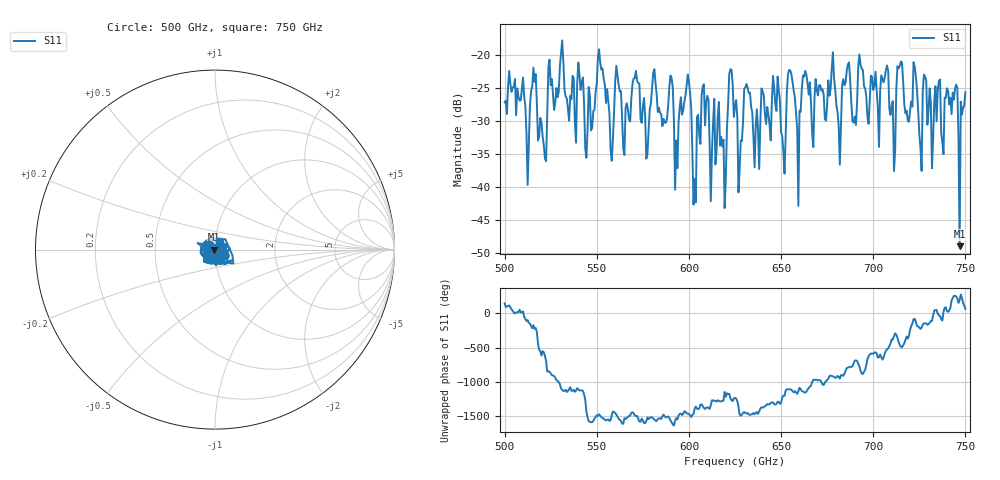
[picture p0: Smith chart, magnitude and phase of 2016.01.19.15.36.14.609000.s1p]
!Created with skrf (http://scikit-rf.org).
# GHz S RI R 50.0
!freq ReS11 ImS11
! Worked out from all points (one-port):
!   401 points, 500 GHz to 750 GHz, reference 50 ohm
!   lowest |S11| = -49.0 dB at 746.9 GHz (marker M1), VSWR 1.01, Z = 49.7 - j0.0666 ohm
!   |S11| at or under -10 dB: start of sweep to end of sweep
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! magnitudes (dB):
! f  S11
! 500 GHz  -27.2
! 512.5 GHz  -39.7
! 515.6 GHz  -22.0
! 521.2 GHz  -33.7
! 531.2 GHz  -17.9
! 544.4 GHz  -35.6
! 551.9 GHz  -21.2
! 558.1 GHz  -36.1
! 562.5 GHz  -25.6
! 590 GHz  -23.2
! 593.8 GHz  -37.2
! 599.4 GHz  -23.0
! 603.1 GHz  -38.8
! 608.1 GHz  -24.5
! 618.8 GHz  -32.9
! 625 GHz  -27.8
! 628.1 GHz  -33.0
! 631.2 GHz  -24.4
! 636.9 GHz  -28.3
! 646.9 GHz  -27.5
! 651.2 GHz  -34.7
! 656.2 GHz  -24.3
! 659.4 GHz  -42.9
! 663.1 GHz  -22.5
! 687.5 GHz  -24.0
! 718.8 GHz  -30.0
! 746.9 GHz  -49.0
! 750 GHz  -25.7
